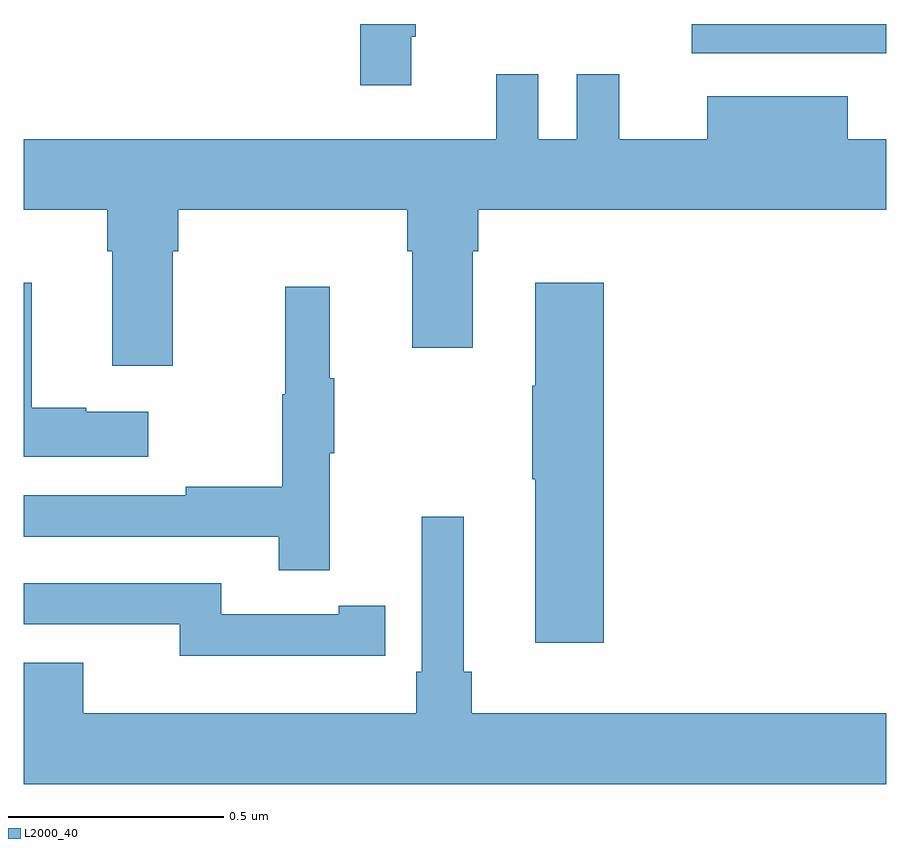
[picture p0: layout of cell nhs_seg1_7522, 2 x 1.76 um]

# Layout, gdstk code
import gdstk
lib = gdstk.Library(unit=1e-6, precision=1e-09)
def R(c, l, rs):  # rectangles x0, y0, x1, y1
    for r in rs: c.add(gdstk.rectangle(r[:2], r[2:], *l))
def P(c, l, *ps):  # polygons
    for p in ps: c.add(gdstk.Polygon(p, *l))
L2000_40 = (2000, 40)

nhs_seg1_7522 = lib.new_cell('nhs_seg1_7522')
R(nhs_seg1_7522, L2000_40, [(206.549,516.131,207,516.199)])
P(nhs_seg1_7522, L2000_40, [(205.898,516.169),(205.909,516.169),(205.909,516.199),(205.78,516.199),(205.78,516.057),(205.898,516.057)],
  [(205.345,515.672),(205.358,515.672),(205.358,515.768),(205.889,515.768),(205.889,515.672),(205.901,515.672),(205.901,515.448),(206.041,515.448),(206.041,515.672),(206.054,515.672),(206.054,515.768),(207,515.768),(207,515.932),(206.911,515.932),(206.911,516.031),(206.585,516.031),(206.585,515.932),(206.381,515.932),(206.381,516.082),(206.283,516.082),(206.283,515.932),(206.193,515.932),(206.193,516.082),(206.096,516.082),(206.096,515.932),(205,515.932),(205,515.768),(205.193,515.768),(205.193,515.672),(205.205,515.672),(205.205,515.406),(205.345,515.406)],
  [(205.288,515.299),(205.145,515.299),(205.145,515.309),(205.018,515.309),(205.018,515.599),(205,515.599),(205,515.195),(205.288,515.195)],
  [(206.345,515.599),(206.186,515.599),(206.186,515.36),(206.179,515.36),(206.179,515.143),(206.186,515.143),(206.186,514.764),(206.345,514.764)],
  [(205.709,515.203),(205.72,515.203),(205.72,515.377),(205.709,515.377),(205.709,515.59),(205.606,515.59),(205.606,515.34),(205.599,515.34),(205.599,515.126),(205.375,515.126),(205.375,515.106),(205,515.106),(205,515.01),(205.591,515.01),(205.591,514.932),(205.709,514.932)],
  [(207,514.6),(206.039,514.6),(206.039,514.696),(206.02,514.696),(206.02,515.056),(205.923,515.056),(205.923,514.696),(205.91,514.696),(205.91,514.6),(205.138,514.6),(205.138,514.717),(205,514.717),(205,514.436),(207,514.436)],
  [(205.73,514.734),(205.838,514.734),(205.838,514.85),(205.73,514.85),(205.73,514.83),(205.458,514.83),(205.458,514.902),(205,514.902),(205,514.806),(205.362,514.806),(205.362,514.733),(205.73,514.733)])

lib.write_gds('nhs_seg1_7522.gds')
